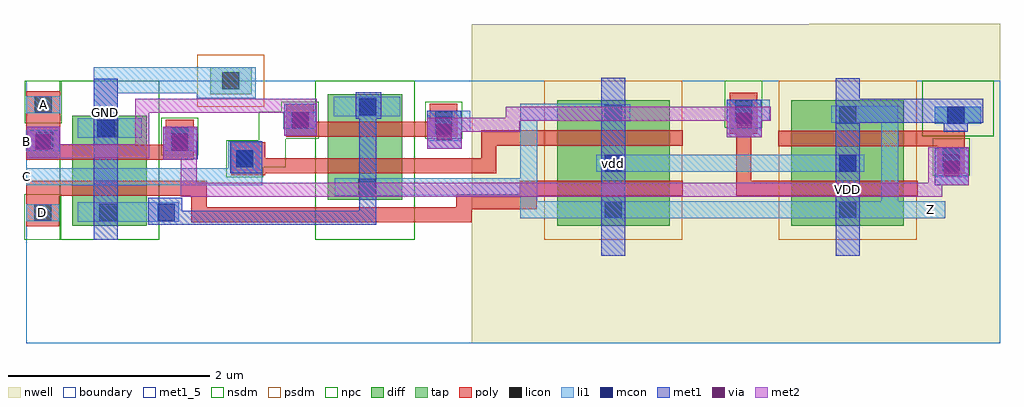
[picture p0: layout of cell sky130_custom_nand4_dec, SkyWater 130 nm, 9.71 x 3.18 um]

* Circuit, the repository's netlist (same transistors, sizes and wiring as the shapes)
* NGSPICE file created from sky130_fd_bd_sram__openram_sp_custom_nand4_dec.ext - technology: sky130A

.subckt sky130_custom_nand4_dec A B C D Z VDD GND
X0 VDD C Z VDD sky130_fd_pr__pfet_01v8 w=1.12u l=0.15u
X1 a_n384_98# C a_128_208# GND sky130_fd_pr__nfet_01v8 w=0.74u l=0.15u
X2 Z D VDD VDD sky130_fd_pr__pfet_01v8 w=1.12u l=0.15u
X3 Z B VDD VDD sky130_fd_pr__pfet_01v8 w=1.12u l=0.15u
X4 a_128_136# A Z GND sky130_fd_pr__nfet_01v8 w=0.74u l=0.15u
X5 VDD A Z VDD sky130_fd_pr__pfet_01v8 w=1.12u l=0.15u
X6 a_128_208# B a_128_136# GND sky130_fd_pr__nfet_01v8 w=0.74u l=0.15u
X7 GND D a_n384_98# GND sky130_fd_pr__nfet_01v8 w=0.74u l=0.15u
.ends

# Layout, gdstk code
import gdstk
lib = gdstk.Library(unit=1e-6, precision=1e-09)
def R(c, l, rs):  # rectangles x0, y0, x1, y1
    for r in rs: c.add(gdstk.rectangle(r[:2], r[2:], *l))
nwell = (64, 20)
diff = (65, 20)
tap = (65, 44)
poly = (66, 20)
licon = (66, 44)
li1 = (67, 20)
mcon = (67, 44)
met1_5 = (68, 5)
met1 = (68, 20)
via = (68, 44)
met2 = (69, 20)
nsdm = (93, 44)
psdm = (94, 20)
npc = (95, 20)
boundary = (235, 4)

sky130_custom_nand4_dec = lib.new_cell('sky130_custom_nand4_dec')
R(sky130_custom_nand4_dec, nwell, [(4.43,0,9.685,3.17), (7.79,3.17,9.685,3.175)])
R(sky130_custom_nand4_dec, diff, [(0.46,1.165,1.2,2.26), (5.28,1.165,6.4,2.415), (7.61,1.165,8.73,2.415), (3,1.425,3.74,2.475)])
R(sky130_custom_nand4_dec, tap, [(9.035,2.18,9.5,2.35), (1.83,2.475,2.245,2.745)])
R(sky130_custom_nand4_dec, poly, [(0,1.16,0.33,1.465), (1.645,1.2,4.43,1.33), (1.645,1.33,5.08,1.35), (1.645,1.35,1.795,1.465), (4.28,1.35,5.08,1.465), (0,1.465,1.795,1.615), (4.28,1.465,6.53,1.48), (7.06,1.465,8.865,1.615), (4.91,1.48,6.53,1.615), (7.06,1.615,7.21,2.08), (2.04,1.67,2.38,1.69), (9.065,1.685,9.335,1.96), (2.04,1.69,4.675,1.84), (0,1.825,1.67,1.975), (2.04,1.84,2.38,2), (4.525,1.84,4.675,1.965), (7.48,1.96,9.335,2.11), (4.525,1.965,6.53,2.115), (0,1.975,0.34,2.505), (1.365,1.975,1.67,1.98), (1.39,1.98,1.67,2.22), (2.59,2.05,4.29,2.2), (7,2.08,7.27,2.49), (2.59,2.2,2.86,2.38), (4.015,2.2,4.29,2.38)])
R(sky130_custom_nand4_dec, licon, [(0.08,1.21,0.25,1.38), (0.73,1.215,0.9,1.385), (5.755,1.24,5.925,1.41), (8.085,1.24,8.255,1.41), (3.305,1.465,3.475,1.635), (5.755,1.705,5.925,1.875), (8.085,1.705,8.255,1.875), (2.09,1.75,2.26,1.92), (9.115,1.765,9.285,1.935), (1.445,1.97,1.615,2.14), (0.745,2.05,0.915,2.22), (2.64,2.13,2.81,2.3), (4.07,2.13,4.24,2.3), (9.165,2.18,9.335,2.35), (8.085,2.19,8.255,2.36), (5.755,2.205,5.925,2.375), (7.05,2.24,7.22,2.41), (3.315,2.265,3.485,2.435), (0.085,2.285,0.255,2.455), (1.95,2.525,2.12,2.695)])
R(sky130_custom_nand4_dec, li1, [(0.515,1.205,1.52,1.4), (0,1.21,0.33,1.38), (4.915,1.24,9.14,1.41), (4.915,1.41,5.085,1.47), (8.505,1.41,8.675,2.19), (3.07,1.465,3.74,1.47), (3.07,1.47,5.085,1.64), (0,1.57,2.35,1.74), (4.915,1.64,5.085,2.21), (9.035,1.65,9.375,1.945), (5.67,1.705,8.335,1.875), (2.01,1.74,2.35,2.01), (0,1.91,0.33,2.115), (1.365,1.91,1.705,2.15), (3.99,2.015,4.33,2.1), (0.515,2.04,1.15,2.235), (3.99,2.1,4.415,2.31), (6.97,2.125,7.31,2.21), (2.56,2.13,2.89,2.3), (9.035,2.18,9.5,2.35), (8.005,2.19,8.675,2.36), (5.67,2.205,6.01,2.21), (4.915,2.21,6.01,2.375), (6.97,2.21,7.395,2.42), (0.675,2.235,0.91,2.485), (3.06,2.255,3.72,2.45), (0,2.285,0.34,2.455), (4.915,2.375,5.795,2.38), (1.7,2.435,2.285,2.485), (0.675,2.485,2.285,2.745)])
R(sky130_custom_nand4_dec, mcon, [(1.31,1.215,1.48,1.385), (5.755,1.705,5.925,1.875), (8.085,1.705,8.255,1.875), (9.115,1.71,9.285,1.88), (2.09,1.75,2.26,1.92), (1.445,1.915,1.615,2.085), (0.1,1.93,0.27,2.1), (0.71,2.05,0.88,2.22), (4.07,2.075,4.24,2.245), (2.64,2.13,2.81,2.3), (9.16,2.18,9.33,2.35), (7.05,2.185,7.22,2.355), (3.315,2.265,3.485,2.435)])
R(sky130_custom_nand4_dec, met1_5, [(8.05,0.87,8.29,2.185), (0.675,1.03,0.91,2.63)])
R(sky130_custom_nand4_dec, met1, [(5.72,0.87,5.96,2.64), (8.05,0.87,8.29,2.19), (0.675,1.03,0.91,2.63), (1.215,1.175,3.485,1.315), (1.215,1.315,1.555,1.445), (3.315,1.315,3.485,2.23), (9.035,1.57,9.375,1.945), (2.03,1.69,2.35,2.01), (1.365,1.83,1.71,2.09), (0.005,1.84,0.34,2.15), (3.99,1.935,4.335,2.25), (6.97,2.045,7.315,2.36), (2.57,2.06,2.89,2.38), (1.365,2.09,1.705,2.15), (9.125,2.1,9.365,2.19), (8.05,2.19,9.52,2.43), (3.28,2.23,3.53,2.495), (3.99,2.25,4.33,2.31), (6.97,2.36,7.31,2.42), (8.05,2.43,8.29,2.635)])
R(sky130_custom_nand4_dec, via, [(9.13,1.66,9.28,1.81), (1.46,1.92,1.61,2.07), (0.09,1.925,0.24,2.075), (4.085,2.025,4.235,2.175), (7.065,2.135,7.215,2.285), (2.655,2.145,2.805,2.295)])
R(sky130_custom_nand4_dec, met2, [(1.54,1.455,9.11,1.57), (1.54,1.57,9.375,1.595), (1.54,1.595,1.7,1.825), (8.97,1.595,9.375,1.95), (1.365,1.825,1.7,2.01), (0.005,1.84,1.225,1.98), (3.99,1.935,4.335,2.1), (0.005,1.98,0.34,2.15), (1.085,1.98,1.225,2.29), (1.365,2.01,1.705,2.15), (6.97,2.045,7.315,2.21), (2.57,2.06,2.89,2.29), (3.99,2.1,4.91,2.21), (3.99,2.21,7.405,2.24), (4.77,2.24,7.405,2.35), (1.085,2.29,2.89,2.43)])
R(sky130_custom_nand4_dec, nsdm, [(0.335,1.03,1.325,2.61), (2.875,1.03,3.865,2.61), (8.91,2.055,9.625,2.61)])
R(sky130_custom_nand4_dec, psdm, [(5.155,1.03,6.525,2.61), (7.485,1.03,8.855,2.61), (1.705,2.35,2.37,2.87)])
R(sky130_custom_nand4_dec, npc, [(-0.02,1.03,0.35,1.48), (1.99,1.65,2.36,1.75), (9.015,1.665,9.385,2.035), (1.99,1.75,2.585,2.02), (1.345,1.87,1.715,2.24), (2.315,2.02,2.585,2.03), (2.315,2.03,2.91,2.3), (3.97,2.03,4.34,2.4), (6.95,2.14,7.32,2.61), (-0.015,2.185,0.355,2.61), (2.54,2.3,2.91,2.4)])
R(sky130_custom_nand4_dec, boundary, [(0,0,9.685,2.61)])
sky130_custom_nand4_dec.add(gdstk.Label('GND', (0.792,2.292), layer=68, texttype=5))
sky130_custom_nand4_dec.add(gdstk.Label('VDD', (8.17,1.527), layer=68, texttype=5))
sky130_custom_nand4_dec.add(gdstk.Label('gnd', (0.79,2.29), layer=68, texttype=5))
sky130_custom_nand4_dec.add(gdstk.Label('vdd', (8.17,1.66), layer=68, texttype=5))
sky130_custom_nand4_dec.add(gdstk.Label('vdd', (8.17,1.53), layer=68, texttype=5))
sky130_custom_nand4_dec.add(gdstk.Label('vdd', (5.84,1.785), layer=68, texttype=5))
sky130_custom_nand4_dec.add(gdstk.Label('A', (0.17,2.37), layer=67, texttype=5))
sky130_custom_nand4_dec.add(gdstk.Label('B', (0,2.01), layer=67, texttype=5))
sky130_custom_nand4_dec.add(gdstk.Label('C', (0.005,1.66), layer=67, texttype=5))
sky130_custom_nand4_dec.add(gdstk.Label('D', (0.165,1.295), layer=67, texttype=5))
sky130_custom_nand4_dec.add(gdstk.Label('Z', (8.99,1.33), layer=67, texttype=5))

lib.write_gds('sky130_custom_nand4_dec.gds')
